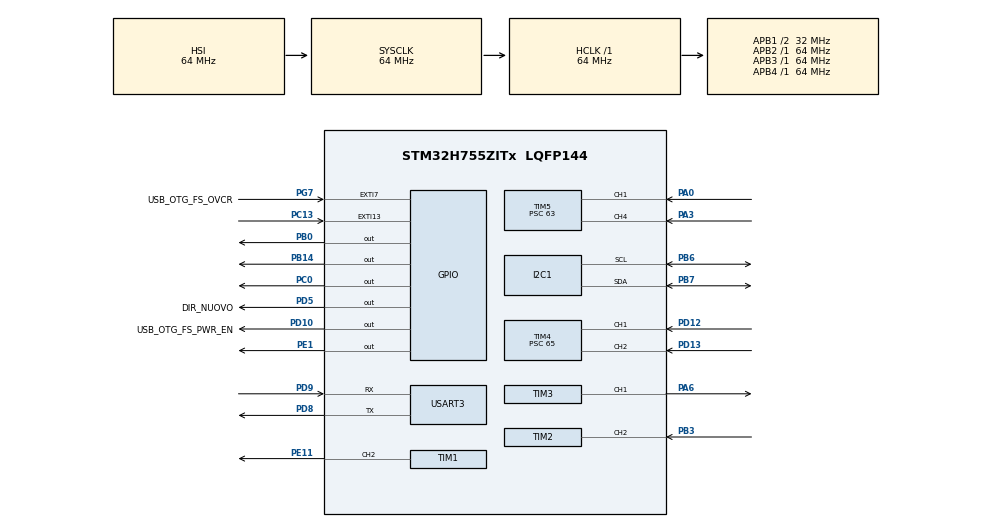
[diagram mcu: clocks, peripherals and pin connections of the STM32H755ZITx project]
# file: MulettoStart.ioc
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CortexM4.IPs=FATFS_M4\:I,FREERTOS_M4\:I,IWDG2\:I,RCC,WWDG2\:I,DMA,BDMA,MDMA,NVIC2\:I,ETH,USART3,DEBUG,PDM2PCM_M4\:I,PWR,RESMGR_UTILITY,SYS_M4\:I,USB_DEVICE_M4\:I,USB_HOST_M4\:I,CORTEX_M4\:I,GPIO,OPENAMP_M4\:I,VREFBUF,NUCLEO-H755ZI-Q
CortexM7.IPs=FATFS_M7\:I,FREERTOS_M7\:I,IWDG1\:I,RCC\:I,WWDG1\:I,DMA\:I,BDMA\:I,MDMA\:I,NVIC1\:I,ETH\:I,USART3\:I,USB_OTG_FS\:I,SYS\:I,CORTEX_M7\:I,DEBUG\:I,PDM2PCM_M7\:I,PWR\:I,RESMGR_UTILITY\:I,USB_DEVICE_M7\:I,USB_HOST_M7\:I,GPIO\:I,OPENAMP_M7\:I,VREFBUF\:I,NUCLEO-H755ZI-Q\:I,MEMORYMAP\:I,TIM6\:I,TIM1\:I,TIM2\:I,TIM3\:I,TIM4\:I,TIM5\:I,SPI5\:I,I2C1\:I
I2C1.Timing=0x00707CBB
Mcu.Family=STM32H7
Mcu.Name=STM32H755ZITx
Mcu.Package=LQFP144
NVIC1.PriorityGroup=NVIC_PRIORITYGROUP_4
NVIC1.TIM2_IRQn=true\:0\:0\:false\:false\:true\:true\:true\:true
NVIC1.TIM5_IRQn=true\:0\:0\:false\:false\:true\:true\:true\:true
NVIC1.TIM6_DAC_IRQn=true\:0\:0\:false\:false\:true\:true\:true\:true
NVIC2.PriorityGroup=NVIC_PRIORITYGROUP_4
PA0.PinAttribute=CortexM7
PA0.Signal=S_TIM5_CH1
PA1.PinAttribute=CortexM7
PA1.Signal=ETH_REF_CLK
PA11.PinAttribute=CortexM7
PA11.Signal=USB_OTG_FS_DM
PA12.PinAttribute=CortexM7
PA12.Signal=USB_OTG_FS_DP
PA2.PinAttribute=CortexM7
PA2.Signal=ETH_MDIO
PA3.PinAttribute=CortexM7
PA3.Signal=S_TIM5_CH4
PA5.PinAttribute=CortexM7
PA5.Signal=S_TIM2_CH1_ETR
PA6.PinAttribute=CortexM7
PA6.Signal=S_TIM3_CH1
PA7.PinAttribute=CortexM7
PA7.Signal=ETH_CRS_DV
PA9.PinAttribute=CortexM7
PA9.Signal=USB_OTG_FS_VBUS
PB0.PinAttribute=Free
PB0.Signal=GPIO_Output
PB10.Signal=I2C2_SCL
PB11.Signal=I2C2_SDA
PB13.PinAttribute=CortexM7
PB13.Signal=ETH_TXD1
PB14.PinAttribute=Free
PB14.Signal=GPIO_Output
PB3\ (JTDO/TRACESWO).PinAttribute=CortexM7
PB3\ (JTDO/TRACESWO).Signal=S_TIM2_CH2
PB6.Mode=I2C
PB6.PinAttribute=CortexM7
PB6.Signal=I2C1_SCL
PB7.Mode=I2C
PB7.PinAttribute=CortexM7
PB7.Signal=I2C1_SDA
PC0.PinAttribute=Free
PC0.Signal=GPIO_Output
PC1.PinAttribute=CortexM7
PC1.Signal=ETH_MDC
PC13.PinAttribute=Free
PC13.Signal=GPXTI13
PC14-OSC32_IN\ (OSC32_IN).Mode=LSE-External-Oscillator
PC14-OSC32_IN\ (OSC32_IN).PinAttribute=Free
PC14-OSC32_IN\ (OSC32_IN).Signal=RCC_OSC32_IN
PC15-OSC32_OUT\ (OSC32_OUT).Mode=LSE-External-Oscillator
PC15-OSC32_OUT\ (OSC32_OUT).PinAttribute=Free
PC15-OSC32_OUT\ (OSC32_OUT).Signal=RCC_OSC32_OUT
PC4.PinAttribute=CortexM7
PC4.Signal=ETH_RXD0
PC5.PinAttribute=CortexM7
PC5.Signal=ETH_RXD1
PD10.GPIO_Label=USB_OTG_FS_PWR_EN
PD10.PinAttribute=Free
PD10.Signal=GPIO_Output
PD12.PinAttribute=CortexM7
PD12.Signal=S_TIM4_CH1
PD13.PinAttribute=CortexM7
PD13.Signal=S_TIM4_CH2
PD5.GPIO_Label=DIR_NUOVO
PD5.PinAttribute=Free
PD5.Signal=GPIO_Output
PD8.Mode=Asynchronous
PD8.PinAttribute=CortexM7
PD8.Signal=USART3_TX
PD9.Mode=Asynchronous
PD9.PinAttribute=CortexM7
PD9.Signal=USART3_RX
PE1.PinAttribute=Free
PE1.Signal=GPIO_Output
PE11.PinAttribute=CortexM7
PE11.Signal=S_TIM1_CH2
PG11.PinAttribute=CortexM7
PG11.Signal=ETH_TX_EN
PG13.PinAttribute=CortexM7
PG13.Signal=ETH_TXD0
PG7.GPIO_Label=USB_OTG_FS_OVCR
PG7.PinAttribute=Free
PG7.Signal=GPXTI7
PH0-OSC_IN\ (PH0).Mode=HSE-External-Oscillator
PH0-OSC_IN\ (PH0).PinAttribute=Free
PH0-OSC_IN\ (PH0).Signal=RCC_OSC_IN
PH1-OSC_OUT\ (PH1).Mode=HSE-External-Oscillator
PH1-OSC_OUT\ (PH1).PinAttribute=Free
PH1-OSC_OUT\ (PH1).Signal=RCC_OSC_OUT
ProjectManager.HeapSize=M4-0x200,M7-0x200
ProjectManager.StackSize=M4-0x400,M7-0x400
ProjectManager.TargetToolchain=STM32CubeIDE
RCC.ADCFreq_Value=129000000
RCC.APB1Freq_Value=32000000
RCC.APB2Freq_Value=64000000
RCC.APB3Freq_Value=64000000
RCC.APB4Freq_Value=64000000
RCC.CortexFreq_Value=64000000
RCC.D2PPRE1=RCC_APB1_DIV2
RCC.DIVM1=5
RCC.DIVN1=48
RCC.DIVQ1=5
RCC.HCLKFreq_Value=64000000
RCC.PLL2FRACN=0
RCC.PLL3FRACN=0
RCC.PLLFRACN=0
RCC.SYSCLKFreq_VALUE=64000000
RCC.SupplySource=PWR_DIRECT_SMPS_SUPPLY
RCC.USBFreq_Value=122880000
SH.S_TIM1_CH2.0=TIM1_CH2,PWM Generation2 CH2
SH.S_TIM2_CH1_ETR.0=TIM2_CH1
SH.S_TIM2_CH2.0=TIM2_CH2,Input_Capture2_from_TI2
SH.S_TIM3_CH1.0=TIM3_CH1,PWM Generation1 CH1
SH.S_TIM4_CH1.0=TIM4_CH1,Encoder_Interface
SH.S_TIM4_CH2.0=TIM4_CH2,Encoder_Interface
SH.S_TIM5_CH1.0=TIM5_CH1,Input_Capture1_from_TI1
SH.S_TIM5_CH4.0=TIM5_CH4,Input_Capture4_from_TI4
TIM1.Channel-PWM\ Generation2\ CH2=TIM_CHANNEL_2
TIM1.Period=19999
TIM1.Prescaler=63
TIM2.Channel-Input_Capture2_from_TI2=TIM_CHANNEL_2
TIM2.ICPolarity_CH2=TIM_INPUTCHANNELPOLARITY_BOTHEDGE
TIM3.Channel-PWM\ Generation1\ CH1=TIM_CHANNEL_1
TIM3.Period=1332
TIM3.Prescaler=3
TIM4.EncoderMode=TIM_ENCODERMODE_TI12
TIM4.Prescaler=65
TIM5.Channel-Input_Capture1_from_TI1=TIM_CHANNEL_1
TIM5.Channel-Input_Capture4_from_TI4=TIM_CHANNEL_4
TIM5.ICPolarity_CH1=TIM_INPUTCHANNELPOLARITY_BOTHEDGE
TIM5.ICPolarity_CH4=TIM_INPUTCHANNELPOLARITY_BOTHEDGE
TIM5.Prescaler=63
TIM6.Period=10000-1
TIM6.Prescaler=64-1
USART3.VirtualMode-Asynchronous=VM_ASYNC
VP_MEMORYMAP_VS_MEMORYMAP.Mode=CurAppReg
VP_SYS_M4_VS_Systick.Mode=SysTick
VP_TIM2_VS_OPM.Mode=OPM_bit
VP_TIM6_VS_ClockSourceINT.Mode=Enable_Timer
board=NUCLEO-H755ZI-Q

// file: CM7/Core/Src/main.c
/* USER CODE BEGIN Header */
/**
  ******************************************************************************
  * @file           : main.c
  * @brief          : Main program body
  ******************************************************************************
  * @attention
  *
  * Copyright (c) 2026 STMicroelectronics.
  * All rights reserved.
  *
  * This software is licensed under terms that can be found in the LICENSE file
  * in the root directory of this software component.
  * If no LICENSE file comes with this software, it is provided AS-IS.
  *
  ******************************************************************************
  */
/* USER CODE END Header */
#include "main.h"

/* USER CODE BEGIN Includes */
#include<stdlib.h>
#include<stdbool.h>
#include "DC_motor.h"
#include"bno055_stm32.h"
#include"Configuration.h"
#include"PID.h"
#include"servo_motor.h"
#include<math.h>
/* USER CODE END Includes */

/* USER CODE BEGIN PTD */
typedef struct SerialData {
	int enable;
	int valid;
	float offset;

	float curvature_radius_ref_m; // [m]
	float linear_speed_ref_m_s; //[m/s]
} serialData;

typedef struct VehicleData {
	//Trazione
	int counts;
	int ref_count;
	int delta_count;
	float delta_angle_deg; // [°]
	float motor_speed_deg_sec; // [°/s]
	float motor_speed_RPM; // RPM
	float linear_speed_m_s; //[m/s]
	float motor_speed_ref_RPM; // RPM
	uint8_t motor_direction_ref;

	//Sterzo
	double yaw_rate_rad_sec; // [rad/s]
	double yaw_rate_deg_sec; // [°/s]
	double yaw_rate_ref_rad_sec; //[rad/s]
} vehicleData;
/* USER CODE END PTD */

/* USER CODE BEGIN PD */

/* DUAL_CORE_BOOT_SYNC_SEQUENCE: Define for dual core boot synchronization    */
/*                             demonstration code based on hardware semaphore */
/* This define is present in both CM7/CM4 projects                            */
/* To comment when developping/debugging on a single core                     */
#define DUAL_CORE_BOOT_SYNC_SEQUENCE

#if defined(DUAL_CORE_BOOT_SYNC_SEQUENCE)
#ifndef HSEM_ID_0
#define HSEM_ID_0 (0U) /* HW semaphore 0*/
#endif
#endif /* DUAL_CORE_BOOT_SYNC_SEQUENCE */macro -------------------------------------------------------------*/

/* Private macro -------------------------------------------------------------*/
/* USER CODE BEGIN PM */

/* USER CODE END PD */

I2C_HandleTypeDef hi2c1;

TIM_HandleTypeDef htim1;
TIM_HandleTypeDef htim2;
TIM_HandleTypeDef htim3;
TIM_HandleTypeDef htim4;
TIM_HandleTypeDef htim5;
TIM_HandleTypeDef htim6;

UART_HandleTypeDef huart3;

/* USER CODE BEGIN PV */

uint32_t IC_Val1_CH1 = 0;
uint32_t IC_Val2_CH1 = 0;
uint32_t Differenza_CH1 = 0;
uint8_t Is_First_Captured_Steering = 0; // 0 = aspetta salita, 1 = aspetta discesa
uint8_t Is_First_Captured_Throttle = 0; // 0 = aspetta salita, 1 = aspetta discesa
uint32_t steering_us = 1500;       // Il tempo del gas in microsecondi (1500 = fermo)
uint32_t throttle_us = 1500;       // Il tempo del gas in microsecondi (1500 = fermo)
serialData data;
vehicleData vehicleState;
volatile uint8_t new_rc_steering = 0;
volatile uint8_t new_rc_throttle = 0;

float speed_ref_rpm = 0;
float speed_meas_rpm = 0;
int32_t old_counts = 0;
float pwm_pid = 0;

//PID
PID pid_traction, pid_steering;
double u_trazione = 0;
double u_sterzo = 0;

//Event control
int Flag_10ms = 0;
int HardwareEnable = 1;
int time_counter = 0;

//Serial input var
uint8_t msg[45] = { "\0" };

/* USER CODE END PV */

void SystemClock_Config(void);
static void MX_GPIO_Init(void);
static void MX_TIM1_Init(void);
static void MX_TIM2_Init(void);
static void MX_TIM3_Init(void);
static void MX_TIM5_Init(void);
static void MX_TIM6_Init(void);
static void MX_TIM4_Init(void);
static void MX_USART3_UART_Init(void);
static void MX_I2C1_Init(void);

int main(void)
{

/* USER CODE BEGIN Boot_Mode_Sequence_0 */
#if defined(DUAL_CORE_BOOT_SYNC_SEQUENCE)
  int32_t timeout;
#endif /* DUAL_CORE_BOOT_SYNC_SEQUENCE */
/* USER CODE END Boot_Mode_Sequence_0 */

/* USER CODE BEGIN Boot_Mode_Sequence_1 */
#if defined(DUAL_CORE_BOOT_SYNC_SEQUENCE)
  /* Wait until CPU2 boots and enters in stop mode or timeout*/
  timeout = 0xFFFF;
  while((__HAL_RCC_GET_FLAG(RCC_FLAG_D2CKRDY) != RESET) && (timeout-- > 0));
  if ( timeout < 0 )
  {
  Error_Handler();
  }
#endif /* DUAL_CORE_BOOT_SYNC_SEQUENCE */
/* USER CODE END Boot_Mode_Sequence_1 */

  /* MCU Configuration--------------------------------------------------------*/

  /* Reset of all peripherals, Initializes the Flash interface and the Systick. */
  HAL_Init();

  /* Configure the system clock */
  SystemClock_Config();

/* USER CODE BEGIN Boot_Mode_Sequence_2 */
#if defined(DUAL_CORE_BOOT_SYNC_SEQUENCE)
/* When system initialization is finished, Cortex-M7 will release Cortex-M4 by means of
HSEM notification */
/*HW semaphore Clock enable*/
__HAL_RCC_HSEM_CLK_ENABLE();
/*Take HSEM */
HAL_HSEM_FastTake(HSEM_ID_0);
/*Release HSEM in order to notify the CPU2(CM4)*/
HAL_HSEM_Release(HSEM_ID_0,0);
/* wait until CPU2 wakes up from stop mode */
timeout = 0xFFFF;
while((__HAL_RCC_GET_FLAG(RCC_FLAG_D2CKRDY) == RESET) && (timeout-- > 0));
if ( timeout < 0 )
{
Error_Handler();
}
#endif /* DUAL_CORE_BOOT_SYNC_SEQUENCE */
/* USER CODE END Boot_Mode_Sequence_2 */

  /* Initialize all configured peripherals */
  MX_GPIO_Init();
  MX_TIM1_Init();
  MX_TIM2_Init();
  MX_TIM3_Init();
  MX_TIM5_Init();
  MX_TIM6_Init();
  MX_TIM4_Init();
  MX_USART3_UART_Init();
  MX_I2C1_Init();

  /* USER CODE BEGIN 2 */
  // ACCENDIAMO L'INTERRUTTORE GENERALE DELLA PORTA D
   __HAL_RCC_GPIOD_CLK_ENABLE();

   //CONFIGURIAMO IL PIN PD5 A MANO (Bypassiamo CubeMX)
   GPIO_InitTypeDef GPIO_InitStruct = {0};
   GPIO_InitStruct.Pin = GPIO_PIN_5;
   GPIO_InitStruct.Mode = GPIO_MODE_OUTPUT_PP; // Push-Pull
   GPIO_InitStruct.Pull = GPIO_NOPULL;
   GPIO_InitStruct.Speed = GPIO_SPEED_FREQ_LOW;
   HAL_GPIO_Init(GPIOD, &GPIO_InitStruct);

  //PWM Servo
  	HAL_TIM_PWM_Start(&htim1, TIM_CHANNEL_2);
      TIM1->BDTR |= TIM_BDTR_MOE;
      TIM1->CCR2 = 1500;
        HAL_Delay(2000); // Aspetta 2 secondi dritto

  	//PWM DC motor
  	HAL_TIM_PWM_Start(&htim3, TIM_CHANNEL_1);
  	HAL_TIM_PWM_Start(&htim2, TIM_CHANNEL_1);

  	//ENCODER TIMER
  	HAL_TIM_Encoder_Start(&htim4, TIM_CHANNEL_ALL);

  	//10ms TIMER
  	HAL_TIM_Base_Start_IT(&htim6);

  	HAL_TIM_IC_Start_IT(&htim5, TIM_CHANNEL_1);
  	HAL_TIM_IC_Start_IT(&htim5, TIM_CHANNEL_4);

  	//PID traction
  	init_PID(&pid_traction, TRACTION_SAMPLING_TIME, MAX_U_TRACTION,
  	MIN_U_TRACTION);
  	tune_PID(&pid_traction, KP_TRACTION, KI_TRACTION, 0);

  	//PID steering
  	init_PID(&pid_steering, STEERING_SAMPLING_TIME, MAX_U_STEERING,
  	MIN_U_STEERING);
  	tune_PID(&pid_steering, KP_STEERING, KI_STEERING, 0);

  	// IMU BNO055 config (automation drive)
  	//HAL_I2C_IsDeviceReady(&hi2c1, BNO055_I2C_ADDR << 1, 5, 1000);
  	//bno055_assignI2C(&hi2c1);
  	//bno055_setup();
  	//bno055_setOperationModeNDOF();

  	servo_motor(0);

  	//Test without Raspberry
  	data.enable = 0;
  	data.valid = 1;
  	data.offset = 0.0;
  	data.curvature_radius_ref_m = MAX_CURVATURE_RADIUS_FOR_STRAIGHT; //with r=1000000 the car goes straight
  	data.linear_speed_ref_m_s = 0.05;

  	float RPM_2_m_s = (2 * M_PI / 60) * WHEEL_RADIUS
  			/ MOTOR_REVOLUTION_FOR_ONE_WHEEL_REVOLUTION;
  	RPM_2_m_s = RPM_2_m_s * 0.787; // correzione aggiunta xk non andava a 1m/s ma a 0.82m/s

  	data.enable = 1;

  /* USER CODE END 2 */

  /* Infinite loop */
  /* USER CODE BEGIN WHILE */

  	uint32_t MAX_SPEED = 20;

  	float steering_angle = 0.0f;
  	float steering_filtered = 1500.0f;
  	float throttle_filtered = 1500.0f;

  	while (1)
  	{
  		if(new_rc_throttle)
  		{
  		    new_rc_throttle = 0;

  		    throttle_filtered =
  		        throttle_filtered * 0.8f +
  		        ((float)throttle_us * 0.2f);

  		    if(throttle_filtered > 1560)
  		    {
  		        vehicleState.motor_direction_ref = 1;

  		        speed_ref_rpm =
  		            ((throttle_filtered - 1560.0f) * 200.0f)
  		            / (2000.0f - 1560.0f);
  		    }
  		    else if(throttle_filtered < 1440)
  		    {
  		        vehicleState.motor_direction_ref = 0;

  		        speed_ref_rpm =
  		            ((1440.0f - throttle_filtered) * 200.0f)
  		            / (1440.0f - 1000.0f);
  		    }
  		    else
  		    {
  		        speed_ref_rpm = 0;
  		    }
  		}

  		if(new_rc_steering)
  		{
  		    new_rc_steering = 0;

  		    steering_filtered =
  		        steering_filtered * 0.8f +
  		        ((float)steering_us * 0.2f);

  		    if(steering_filtered < 1000)
  		        steering_filtered = 1000;

  		    if(steering_filtered > 2000)
  		        steering_filtered = 2000;

  		    steering_angle =
  		        -((steering_filtered - 1500.0f) * 15.0f) / 500.0f;

  		    servo_motor(steering_angle);
  		}
  	}

    /* USER CODE END WHILE */

}

void SystemClock_Config(void)
{
  RCC_OscInitTypeDef RCC_OscInitStruct = {0};
  RCC_ClkInitTypeDef RCC_ClkInitStruct = {0};

  /** Supply configuration update enable
  */
  HAL_PWREx_ConfigSupply(PWR_DIRECT_SMPS_SUPPLY);

  /** Configure the main internal regulator output voltage
  */
  __HAL_PWR_VOLTAGESCALING_CONFIG(PWR_REGULATOR_VOLTAGE_SCALE3);

  while(!__HAL_PWR_GET_FLAG(PWR_FLAG_VOSRDY)) {}

  /** Initializes the RCC Oscillators according to the specified parameters
  * in the RCC_OscInitTypeDef structure.
  */
  RCC_OscInitStruct.OscillatorType = RCC_OSCILLATORTYPE_HSI;
  RCC_OscInitStruct.HSIState = RCC_HSI_DIV1;
  RCC_OscInitStruct.HSICalibrationValue = RCC_HSICALIBRATION_DEFAULT;
  RCC_OscInitStruct.PLL.PLLState = RCC_PLL_NONE;
  if (HAL_RCC_OscConfig(&RCC_OscInitStruct) != HAL_OK)
  {
    Error_Handler();
  }

  /** Initializes the CPU, AHB and APB buses clocks
  */
  RCC_ClkInitStruct.ClockType = RCC_CLOCKTYPE_HCLK|RCC_CLOCKTYPE_SYSCLK
                              |RCC_CLOCKTYPE_PCLK1|RCC_CLOCKTYPE_PCLK2
                              |RCC_CLOCKTYPE_D3PCLK1|RCC_CLOCKTYPE_D1PCLK1;
  RCC_ClkInitStruct.SYSCLKSource = RCC_SYSCLKSOURCE_HSI;
  RCC_ClkInitStruct.SYSCLKDivider = RCC_SYSCLK_DIV1;
  RCC_ClkInitStruct.AHBCLKDivider = RCC_HCLK_DIV1;
  RCC_ClkInitStruct.APB3CLKDivider = RCC_APB3_DIV1;
  RCC_ClkInitStruct.APB1CLKDivider = RCC_APB1_DIV2;
  RCC_ClkInitStruct.APB2CLKDivider = RCC_APB2_DIV1;
  RCC_ClkInitStruct.APB4CLKDivider = RCC_APB4_DIV1;

  if (HAL_RCC_ClockConfig(&RCC_ClkInitStruct, FLASH_LATENCY_1) != HAL_OK)
  {
    Error_Handler();
  }
}

static void MX_I2C1_Init(void)
{

  hi2c1.Instance = I2C1;
  hi2c1.Init.Timing = 0x00707CBB;
  hi2c1.Init.OwnAddress1 = 0;
  hi2c1.Init.AddressingMode = I2C_ADDRESSINGMODE_7BIT;
  hi2c1.Init.DualAddressMode = I2C_DUALADDRESS_DISABLE;
  hi2c1.Init.OwnAddress2 = 0;
  hi2c1.Init.OwnAddress2Masks = I2C_OA2_NOMASK;
  hi2c1.Init.GeneralCallMode = I2C_GENERALCALL_DISABLE;
  hi2c1.Init.NoStretchMode = I2C_NOSTRETCH_DISABLE;
  if (HAL_I2C_Init(&hi2c1) != HAL_OK)
  {
    Error_Handler();
  }

  /** Configure Analogue filter
  */
  if (HAL_I2CEx_ConfigAnalogFilter(&hi2c1, I2C_ANALOGFILTER_ENABLE) != HAL_OK)
  {
    Error_Handler();
  }

  /** Configure Digital filter
  */
  if (HAL_I2CEx_ConfigDigitalFilter(&hi2c1, 0) != HAL_OK)
  {
    Error_Handler();
  }

}

static void MX_TIM1_Init(void)
{

  TIM_MasterConfigTypeDef sMasterConfig = {0};
  TIM_OC_InitTypeDef sConfigOC = {0};
  TIM_BreakDeadTimeConfigTypeDef sBreakDeadTimeConfig = {0};

  htim1.Instance = TIM1;
  htim1.Init.Prescaler = 63;
  htim1.Init.CounterMode = TIM_COUNTERMODE_UP;
  htim1.Init.Period = 19999;
  htim1.Init.ClockDivision = TIM_CLOCKDIVISION_DIV1;
  htim1.Init.RepetitionCounter = 0;
  htim1.Init.AutoReloadPreload = TIM_AUTORELOAD_PRELOAD_DISABLE;
  if (HAL_TIM_PWM_Init(&htim1) != HAL_OK)
  {
    Error_Handler();
  }
  sMasterConfig.MasterOutputTrigger = TIM_TRGO_RESET;
  sMasterConfig.MasterOutputTrigger2 = TIM_TRGO2_RESET;
  sMasterConfig.MasterSlaveMode = TIM_MASTERSLAVEMODE_DISABLE;
  if (HAL_TIMEx_MasterConfigSynchronization(&htim1, &sMasterConfig) != HAL_OK)
  {
    Error_Handler();
  }
  sConfigOC.OCMode = TIM_OCMODE_PWM1;
  sConfigOC.Pulse = 0;
  sConfigOC.OCPolarity = TIM_OCPOLARITY_HIGH;
  sConfigOC.OCNPolarity = TIM_OCNPOLARITY_HIGH;
  sConfigOC.OCFastMode = TIM_OCFAST_DISABLE;
  sConfigOC.OCIdleState = TIM_OCIDLESTATE_RESET;
  sConfigOC.OCNIdleState = TIM_OCNIDLESTATE_RESET;
  if (HAL_TIM_PWM_ConfigChannel(&htim1, &sConfigOC, TIM_CHANNEL_2) != HAL_OK)
  {
    Error_Handler();
  }
  sBreakDeadTimeConfig.OffStateRunMode = TIM_OSSR_DISABLE;
  sBreakDeadTimeConfig.OffStateIDLEMode = TIM_OSSI_DISABLE;
  sBreakDeadTimeConfig.LockLevel = TIM_LOCKLEVEL_OFF;
  sBreakDeadTimeConfig.DeadTime = 0;
  sBreakDeadTimeConfig.BreakState = TIM_BREAK_DISABLE;
  sBreakDeadTimeConfig.BreakPolarity = TIM_BREAKPOLARITY_HIGH;
  sBreakDeadTimeConfig.BreakFilter = 0;
  sBreakDeadTimeConfig.Break2State = TIM_BREAK2_DISABLE;
  sBreakDeadTimeConfig.Break2Polarity = TIM_BREAK2POLARITY_HIGH;
  sBreakDeadTimeConfig.Break2Filter = 0;
  sBreakDeadTimeConfig.AutomaticOutput = TIM_AUTOMATICOUTPUT_DISABLE;
  if (HAL_TIMEx_ConfigBreakDeadTime(&htim1, &sBreakDeadTimeConfig) != HAL_OK)
  {
    Error_Handler();
  }
  HAL_TIM_MspPostInit(&htim1);

}

static void MX_TIM2_Init(void)
{

  TIM_MasterConfigTypeDef sMasterConfig = {0};
  TIM_IC_InitTypeDef sConfigIC = {0};

  htim2.Instance = TIM2;
  htim2.Init.Prescaler = 0;
  htim2.Init.CounterMode = TIM_COUNTERMODE_UP;
  htim2.Init.Period = 4294967295;
  htim2.Init.ClockDivision = TIM_CLOCKDIVISION_DIV1;
  htim2.Init.AutoReloadPreload = TIM_AUTORELOAD_PRELOAD_DISABLE;
  if (HAL_TIM_IC_Init(&htim2) != HAL_OK)
  {
    Error_Handler();
  }
  if (HAL_TIM_OnePulse_Init(&htim2, TIM_OPMODE_SINGLE) != HAL_OK)
  {
    Error_Handler();
  }
  sMasterConfig.MasterOutputTrigger = TIM_TRGO_RESET;
  sMasterConfig.MasterSlaveMode = TIM_MASTERSLAVEMODE_DISABLE;
  if (HAL_TIMEx_MasterConfigSynchronization(&htim2, &sMasterConfig) != HAL_OK)
  {
    Error_Handler();
  }
  sConfigIC.ICPolarity = TIM_INPUTCHANNELPOLARITY_BOTHEDGE;
  sConfigIC.ICSelection = TIM_ICSELECTION_DIRECTTI;
  sConfigIC.ICPrescaler = TIM_ICPSC_DIV1;
  sConfigIC.ICFilter = 0;
  if (HAL_TIM_IC_ConfigChannel(&htim2, &sConfigIC, TIM_CHANNEL_2) != HAL_OK)
  {
    Error_Handler();
  }

}

static void MX_TIM3_Init(void)
{

  TIM_MasterConfigTypeDef sMasterConfig = {0};
  TIM_OC_InitTypeDef sConfigOC = {0};

  htim3.Instance = TIM3;
  htim3.Init.Prescaler = 3;
  htim3.Init.CounterMode = TIM_COUNTERMODE_UP;
  htim3.Init.Period = 1332;
  htim3.Init.ClockDivision = TIM_CLOCKDIVISION_DIV1;
  htim3.Init.AutoReloadPreload = TIM_AUTORELOAD_PRELOAD_DISABLE;
  if (HAL_TIM_PWM_Init(&htim3) != HAL_OK)
  {
    Error_Handler();
  }
  sMasterConfig.MasterOutputTrigger = TIM_TRGO_RESET;
  sMasterConfig.MasterSlaveMode = TIM_MASTERSLAVEMODE_DISABLE;
  if (HAL_TIMEx_MasterConfigSynchronization(&htim3, &sMasterConfig) != HAL_OK)
  {
    Error_Handler();
  }
  sConfigOC.OCMode = TIM_OCMODE_PWM1;
  sConfigOC.Pulse = 0;
  sConfigOC.OCPolarity = TIM_OCPOLARITY_HIGH;
  sConfigOC.OCFastMode = TIM_OCFAST_DISABLE;
  if (HAL_TIM_PWM_ConfigChannel(&htim3, &sConfigOC, TIM_CHANNEL_1) != HAL_OK)
  {
    Error_Handler();
  }
  HAL_TIM_MspPostInit(&htim3);

}

static void MX_TIM4_Init(void)
{

  TIM_Encoder_InitTypeDef sConfig = {0};
  TIM_MasterConfigTypeDef sMasterConfig = {0};

  htim4.Instance = TIM4;
  htim4.Init.Prescaler = 65;
  htim4.Init.CounterMode = TIM_COUNTERMODE_UP;
  htim4.Init.Period = 65535;
  htim4.Init.ClockDivision = TIM_CLOCKDIVISION_DIV1;
  htim4.Init.AutoReloadPreload = TIM_AUTORELOAD_PRELOAD_DISABLE;
  sConfig.EncoderMode = TIM_ENCODERMODE_TI12;
  sConfig.IC1Polarity = TIM_ICPOLARITY_RISING;
  sConfig.IC1Selection = TIM_ICSELECTION_DIRECTTI;
  sConfig.IC1Prescaler = TIM_ICPSC_DIV1;
  sConfig.IC1Filter = 0;
  sConfig.IC2Polarity = TIM_ICPOLARITY_RISING;
  sConfig.IC2Selection = TIM_ICSELECTION_DIRECTTI;
  sConfig.IC2Prescaler = TIM_ICPSC_DIV1;
  sConfig.IC2Filter = 0;
  if (HAL_TIM_Encoder_Init(&htim4, &sConfig) != HAL_OK)
  {
    Error_Handler();
  }
  sMasterConfig.MasterOutputTrigger = TIM_TRGO_RESET;
  sMasterConfig.MasterSlaveMode = TIM_MASTERSLAVEMODE_DISABLE;
  if (HAL_TIMEx_MasterConfigSynchronization(&htim4, &sMasterConfig) != HAL_OK)
  {
    Error_Handler();
  }

}

static void MX_TIM5_Init(void)
{

  TIM_MasterConfigTypeDef sMasterConfig = {0};
  TIM_IC_InitTypeDef sConfigIC = {0};

  htim5.Instance = TIM5;
  htim5.Init.Prescaler = 63;
  htim5.Init.CounterMode = TIM_COUNTERMODE_UP;
  htim5.Init.Period = 4294967295;
  htim5.Init.ClockDivision = TIM_CLOCKDIVISION_DIV1;
  htim5.Init.AutoReloadPreload = TIM_AUTORELOAD_PRELOAD_DISABLE;
  if (HAL_TIM_IC_Init(&htim5) != HAL_OK)
  {
    Error_Handler();
  }
  sMasterConfig.MasterOutputTrigger = TIM_TRGO_RESET;
  sMasterConfig.MasterSlaveMode = TIM_MASTERSLAVEMODE_DISABLE;
  if (HAL_TIMEx_MasterConfigSynchronization(&htim5, &sMasterConfig) != HAL_OK)
  {
    Error_Handler();
  }
  sConfigIC.ICPolarity = TIM_INPUTCHANNELPOLARITY_BOTHEDGE;
  sConfigIC.ICSelection = TIM_ICSELECTION_DIRECTTI;
  sConfigIC.ICPrescaler = TIM_ICPSC_DIV1;
  sConfigIC.ICFilter = 0;
  if (HAL_TIM_IC_ConfigChannel(&htim5, &sConfigIC, TIM_CHANNEL_1) != HAL_OK)
  {
    Error_Handler();
  }
  if (HAL_TIM_IC_ConfigChannel(&htim5, &sConfigIC, TIM_CHANNEL_4) != HAL_OK)
  {
    Error_Handler();
  }

}

static void MX_TIM6_Init(void)
{

  TIM_MasterConfigTypeDef sMasterConfig = {0};

  htim6.Instance = TIM6;
  htim6.Init.Prescaler = 64-1;
  htim6.Init.CounterMode = TIM_COUNTERMODE_UP;
  htim6.Init.Period = 10000-1;
  htim6.Init.AutoReloadPreload = TIM_AUTORELOAD_PRELOAD_DISABLE;
  if (HAL_TIM_Base_Init(&htim6) != HAL_OK)
  {
    Error_Handler();
  }
  sMasterConfig.MasterOutputTrigger = TIM_TRGO_RESET;
  sMasterConfig.MasterSlaveMode = TIM_MASTERSLAVEMODE_DISABLE;
  if (HAL_TIMEx_MasterConfigSynchronization(&htim6, &sMasterConfig) != HAL_OK)
  {
    Error_Handler();
  }

}

static void MX_USART3_UART_Init(void)
{

  huart3.Instance = USART3;
  huart3.Init.BaudRate = 115200;
  huart3.Init.WordLength = UART_WORDLENGTH_8B;
  huart3.Init.StopBits = UART_STOPBITS_1;
  huart3.Init.Parity = UART_PARITY_NONE;
  huart3.Init.Mode = UART_MODE_TX_RX;
  huart3.Init.HwFlowCtl = UART_HWCONTROL_NONE;
  huart3.Init.OverSampling = UART_OVERSAMPLING_16;
  huart3.Init.OneBitSampling = UART_ONE_BIT_SAMPLE_DISABLE;
  huart3.Init.ClockPrescaler = UART_PRESCALER_DIV1;
  huart3.AdvancedInit.AdvFeatureInit = UART_ADVFEATURE_NO_INIT;
  if (HAL_UART_Init(&huart3) != HAL_OK)
  {
    Error_Handler();
  }
  if (HAL_UARTEx_SetTxFifoThreshold(&huart3, UART_TXFIFO_THRESHOLD_1_8) != HAL_OK)
  {
    Error_Handler();
  }
  if (HAL_UARTEx_SetRxFifoThreshold(&huart3, UART_RXFIFO_THRESHOLD_1_8) != HAL_OK)
  {
    Error_Handler();
  }
  if (HAL_UARTEx_DisableFifoMode(&huart3) != HAL_OK)
  {
    Error_Handler();
  }

}

static void MX_GPIO_Init(void)
{
  GPIO_InitTypeDef GPIO_InitStruct = {0};

  /* GPIO Ports Clock Enable */
  __HAL_RCC_GPIOC_CLK_ENABLE();
  __HAL_RCC_GPIOA_CLK_ENABLE();
  __HAL_RCC_GPIOE_CLK_ENABLE();
  __HAL_RCC_GPIOB_CLK_ENABLE();
  __HAL_RCC_GPIOD_CLK_ENABLE();
  __HAL_RCC_GPIOG_CLK_ENABLE();

  /*Configure GPIO pins : PC1 PC4 PC5 */
  GPIO_InitStruct.Pin = GPIO_PIN_1|GPIO_PIN_4|GPIO_PIN_5;
  GPIO_InitStruct.Mode = GPIO_MODE_AF_PP;
  GPIO_InitStruct.Pull = GPIO_NOPULL;
  GPIO_InitStruct.Speed = GPIO_SPEED_FREQ_LOW;
  GPIO_InitStruct.Alternate = GPIO_AF11_ETH;
  HAL_GPIO_Init(GPIOC, &GPIO_InitStruct);

  /*Configure GPIO pins : PA1 PA2 PA7 */
  GPIO_InitStruct.Pin = GPIO_PIN_1|GPIO_PIN_2|GPIO_PIN_7;
  GPIO_InitStruct.Mode = GPIO_MODE_AF_PP;
  GPIO_InitStruct.Pull = GPIO_NOPULL;
  GPIO_InitStruct.Speed = GPIO_SPEED_FREQ_LOW;
  GPIO_InitStruct.Alternate = GPIO_AF11_ETH;
  HAL_GPIO_Init(GPIOA, &GPIO_InitStruct);

  /*Configure GPIO pin : PB13 */
  GPIO_InitStruct.Pin = GPIO_PIN_13;
  GPIO_InitStruct.Mode = GPIO_MODE_AF_PP;
  GPIO_InitStruct.Pull = GPIO_NOPULL;
  GPIO_InitStruct.Speed = GPIO_SPEED_FREQ_LOW;
  GPIO_InitStruct.Alternate = GPIO_AF11_ETH;
  HAL_GPIO_Init(GPIOB, &GPIO_InitStruct);

  /*Configure GPIO pins : PA11 PA12 */
  GPIO_InitStruct.Pin = GPIO_PIN_11|GPIO_PIN_12;
  GPIO_InitStruct.Mode = GPIO_MODE_AF_PP;
  GPIO_InitStruct.Pull = GPIO_NOPULL;
  GPIO_InitStruct.Speed = GPIO_SPEED_FREQ_LOW;
  GPIO_InitStruct.Alternate = GPIO_AF10_OTG1_FS;
  HAL_GPIO_Init(GPIOA, &GPIO_InitStruct);

  /*Configure GPIO pins : PG11 PG13 */
  GPIO_InitStruct.Pin = GPIO_PIN_11|GPIO_PIN_13;
  GPIO_InitStruct.Mode = GPIO_MODE_AF_PP;
  GPIO_InitStruct.Pull = GPIO_NOPULL;
  GPIO_InitStruct.Speed = GPIO_SPEED_FREQ_LOW;
  GPIO_InitStruct.Alternate = GPIO_AF11_ETH;
  HAL_GPIO_Init(GPIOG, &GPIO_InitStruct);

}

/* USER CODE BEGIN 4 */
void HAL_TIM_PeriodElapsedCallback(TIM_HandleTypeDef *htim) {
	if (htim == &htim6) {
		Flag_10ms = 1;

		 // SAFETY RADIO (PRIMA DI TUTTO)
		        if (data.enable == 0)
		        {
		            set_PWM_and_dir(0, 0);
		            return;
		        }

		//Encoder
		vehicleState.counts = TIM4->CNT;
		TIM4->CNT = TIM4->ARR / 2;

		//References
		time_counter++;

		if (time_counter == 200) {
			data.curvature_radius_ref_m = 1.3; //2.2;//2.2; //1.3;
			pid_steering.Iterm = 0;
			pid_steering.e_old = 0;
		}

		if (time_counter == 580) {
			data.enable = 0;
		}
	}
	int32_t counts;

	counts = TIM4->CNT;

	TIM4->CNT = 0;

	speed_meas_rpm =
	    (counts * 60.0f * 100.0f)
	    / (2048.0f);

	float errore;

	errore = speed_ref_rpm - speed_meas_rpm;

	pwm_pid = PID_controller(&pid_traction,
	                         speed_meas_rpm,
	                         speed_ref_rpm);

	if(speed_ref_rpm == 0)
	{
	    pwm_pid = 0;
	}

	//printf("%f,%f\r\n",
	  //     speed_ref_rpm,
	    //   speed_meas_rpm);

	set_PWM_and_dir((uint32_t)pwm_pid,
		                vehicleState.motor_direction_ref);

	printf("ref=%.1f meas=%.1f pwm=%d dir=%d\r\n",
	       speed_ref_rpm,
	       speed_meas_rpm,
	       (int)pwm_pid,
	       vehicleState.motor_direction_ref);

}

//USART2 -> ST_Link UART for DEBUG with USB (e.g. PUTTY)
int _write(int file, char *ptr, int len) {
	HAL_UART_Transmit(&huart3, (uint8_t*)ptr, len, HAL_MAX_DELAY);
		return len;
}

//BLUE user button
void HAL_GPIO_EXTI_Callback(uint16_t GPIO_Pin) {
	if (GPIO_Pin == GPIO_PIN_13) {
		if (HardwareEnable == 0) {
			HardwareEnable = 1;
		} else {
			HardwareEnable = 0;
		}
	}
}

void HAL_TIM_IC_CaptureCallback(TIM_HandleTypeDef *htim)
{  // STERZO -> PA3 (TIM5 CH4)
    if (htim->Instance == TIM5 &&
        htim->Channel == HAL_TIM_ACTIVE_CHANNEL_4)
    {
        static uint32_t ic_val1 = 0;
        uint32_t ic_val2 = 0;

        if (Is_First_Captured_Steering == 0)
        {
            ic_val1 = HAL_TIM_ReadCapturedValue(htim, TIM_CHANNEL_4);
            Is_First_Captured_Steering = 1;

            __HAL_TIM_SET_CAPTUREPOLARITY(htim,
                                          TIM_CHANNEL_4,
                                          TIM_INPUTCHANNELPOLARITY_FALLING);
        }
        else
        {
            ic_val2 = HAL_TIM_ReadCapturedValue(htim, TIM_CHANNEL_4);

            if (ic_val2 > ic_val1)
                Differenza_CH1 = ic_val2 - ic_val1;
            else
                Differenza_CH1 = (0xFFFFFFFF - ic_val1) + ic_val2;

            steering_us = Differenza_CH1;
            new_rc_steering = 1;

            Is_First_Captured_Steering = 0;

            __HAL_TIM_SET_CAPTUREPOLARITY(htim,
                                          TIM_CHANNEL_4,
                                          TIM_INPUTCHANNELPOLARITY_RISING);
        }
    }

    // TRAZIONE -> PA0 (TIM5 CH1)
    if (htim->Instance == TIM5 &&
        htim->Channel == HAL_TIM_ACTIVE_CHANNEL_1)
    {
        static uint32_t ic_val1_t = 0;
        uint32_t ic_val2_t = 0;

        if (Is_First_Captured_Throttle == 0)
        {
            ic_val1_t = HAL_TIM_ReadCapturedValue(htim, TIM_CHANNEL_1);
            Is_First_Captured_Throttle= 1;

            __HAL_TIM_SET_CAPTUREPOLARITY(htim,
                                          TIM_CHANNEL_1,
                                          TIM_INPUTCHANNELPOLARITY_FALLING);
        }
        else
        {
            ic_val2_t = HAL_TIM_ReadCapturedValue(htim, TIM_CHANNEL_1);

            if (ic_val2_t > ic_val1_t)
                Differenza_CH1 = ic_val2_t - ic_val1_t;
            else
                Differenza_CH1 = (0xFFFFFFFF - ic_val1_t) + ic_val2_t;

            throttle_us = Differenza_CH1;
            new_rc_throttle = 1;

            Is_First_Captured_Throttle = 0;

            __HAL_TIM_SET_CAPTUREPOLARITY(htim,
                                          TIM_CHANNEL_1,
                                          TIM_INPUTCHANNELPOLARITY_RISING);
        }
    }
}

/* USER CODE END 4 */

void Error_Handler(void)
{
  __disable_irq();
  while (1)
  {
  }
}
